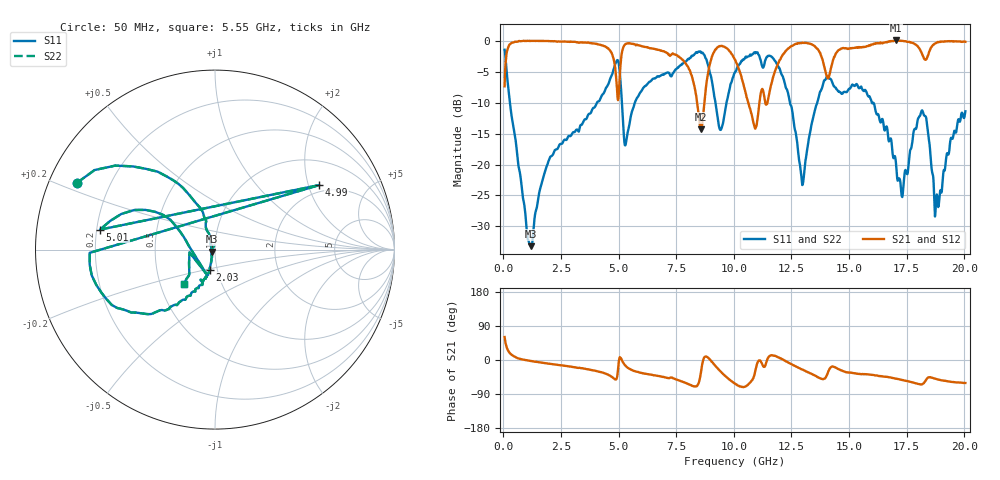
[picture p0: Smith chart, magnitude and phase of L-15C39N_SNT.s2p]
#	mhz	s	ma	r	50
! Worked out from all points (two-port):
!   1001 points, 50 MHz to 20.05 GHz, reference 50 ohm
!   highest |S21| = 0.13 dB at 17.05 GHz (marker M1); lowest = -14.3 dB at 8.59 GHz (marker M2)
!   |S21| within 3 dB of the highest: 108.4 MHz to 4.783 GHz (4.675 GHz wide, 191 % of centre); 14.32 GHz to 18.26 GHz (3.94 GHz wide, 24.2 % of centre) (the widest 2 of 6)
!   lowest |S11| = -33.3 dB at 1.21 GHz (marker M3), VSWR 1.04, Z = 48.2 - j1.12 ohm
!   |S11| at or under -10 dB: 281.8 MHz to 4.053 GHz (3.771 GHz wide, 174 % of centre); 12.44 GHz to 13.62 GHz (1.18 GHz wide, 9.06 % of centre); 16.06 GHz to end of sweep (the widest 3 of 6)
!   |S22| runs from -33.3 to -1.4 dB; largest |S21 - S12| = 0
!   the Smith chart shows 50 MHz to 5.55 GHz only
!   S11 on the Smith chart (normalised r, x): 50 MHz: 0.08, +0.23; 2.03 GHz: 0.92, -0.21; 4.99 GHz: 1.75, +2.35; 5.01 GHz: 0.21, +0.08; 5.55 GHz: 0.66, -0.27
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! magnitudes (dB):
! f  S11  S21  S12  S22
! 50 MHz  -1.4  -7.3  -7.3  -1.4
! 1.21 GHz  -33.3  0.1  0.1  -33.3
! 2.03 GHz  -18.8  0.0  0.0  -18.8
! 3.39 GHz  -13.6  -0.2  -0.2  -13.6
! 4.99 GHz  -3.3  -9.3  -9.3  -3.3
! 5.01 GHz  -3.7  -8.3  -8.3  -3.7
! 5.29 GHz  -16.9  -0.5  -0.5  -16.9
! 5.55 GHz  -11.8  -0.4  -0.4  -11.8
! 6.73 GHz  -5.7  -1.4  -1.4  -5.7
! 8.59 GHz  -1.9  -14.3  -14.3  -1.9
! 9.41 GHz  -14.4  -0.8  -0.8  -14.4
! 10.05 GHz  -5.0  -3.0  -3.0  -5.0
! 10.93 GHz  -2.0  -14.2  -14.2  -2.0
! 12.07 GHz  -5.4  -2.5  -2.5  -5.4
! 12.95 GHz  -22.5  -0.3  -0.3  -22.5
! 13.39 GHz  -13.2  -0.5  -0.5  -13.2
! 14.11 GHz  -5.8  -5.9  -5.9  -5.8
! 16.73 GHz  -16.3  0.0  0.0  -16.3
! 17.05 GHz  -20.4  0.1  0.1  -20.4
! 18.23 GHz  -11.8  -2.6  -2.6  -11.8
! 18.81 GHz  -24.9  -0.2  -0.2  -24.9
! 20.05 GHz  -11.4  -0.1  -0.1  -11.4
